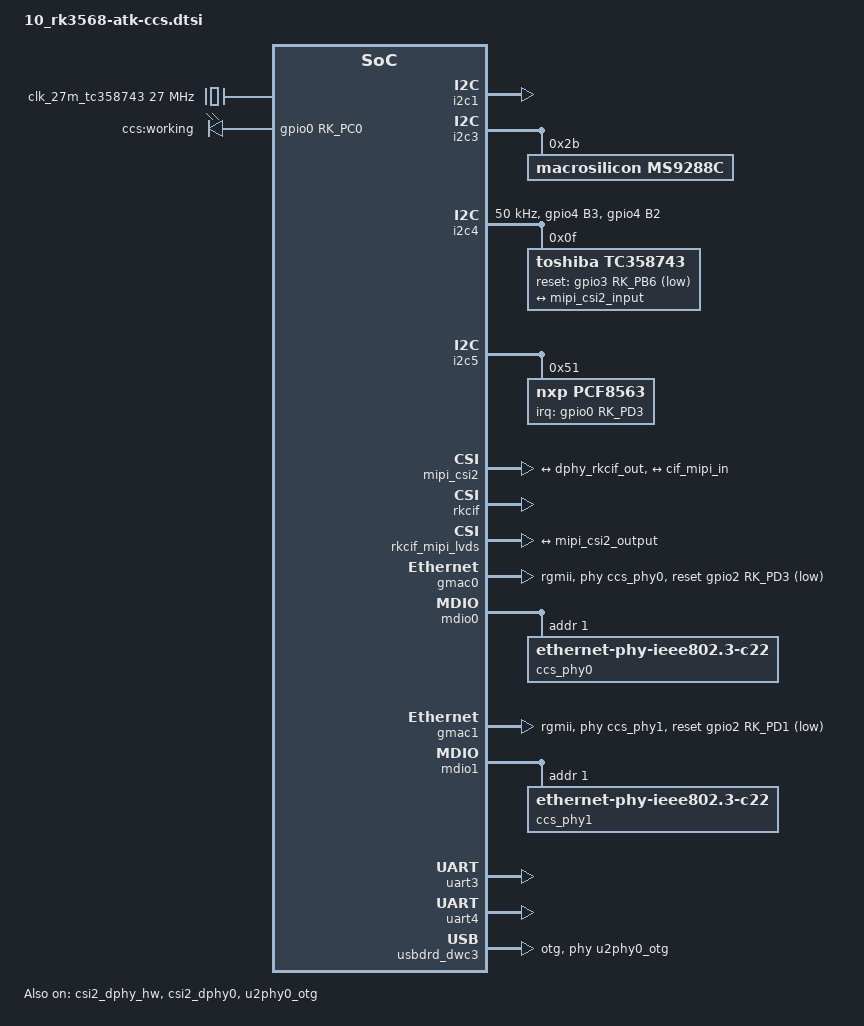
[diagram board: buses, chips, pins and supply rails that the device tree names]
// SPDX-License-Identifier: (GPL-2.0+ OR MIT)
/*
 * RK3568-CCS-V1.0 底板设备树增量（0916A 原理图复核版）
 *
 * 用法：放到 kernel/arch/arm64/boot/dts/rockchip/ 下，
 * 在 rk3568-atk-evb1-ddr4-v10-linux.dts 末尾 #include 本文件；
 * 或新建 rk3568-atk-ccs-v10.dts 包含原厂 dts 再 include 本文件，
 * 并改 BoardConfig 的 RK_KERNEL_DTS。
 *
 * IO 分配依据：buildroot_dev/02_IO与复用配置总表.md（0916A 全 22 页复核 +
 * 金手指复用表 V1.1 交叉核对）。
 *
 * ★ 视频采集为 HDMI/VGA 二选一：两颗 TC358743 的 CSI 4-lane 和 I2C4
 *   经 6 颗 TMUX121（U14/U16~U20，SEL=GPIO1_B1，R80 15k 下拉默认 0=HDMI）
 *   切换，共用 MIPI_CSI_RX 与 i2c4；第 7 颗 TMUX121(U32) 在 P6.3 用于
 *   PICO USB 通路选择，与视频无关。
 *   SW2 拨码（P3.3，经 R87 2k 上拉 SEL）闭合可硬件强制 VGA 路。
 *   设备树只实例化一颗 tc358743，切通道流程（用户态）：
 *     1) echo 解绑/停流；2) gpioset SEL=目标通道；
 *     3) 复位目标芯片（见下 reset 分工）；4) 重新 bind 或 v4l2-ctl 重探测。
 *
 * ★ RGMII 电平：两路 PHY 的 VCCIO 均为 1.8V（VCC_1V8 经磁珠），
 *   核心板 GPIO2/GPIO4 域须为 1.8V（P6.2 页 U29 VCCA=VCC_1V8 佐证
 *   GPIO2 域=1.8V）。pmu-io-domains 沿用核心板出厂配置即可，
 *   烧写前用万用表点核（见配置总表第四节）。
 *
 * ★ 与 ccs_dev/10_rk3568-atk-ccs.dtsi 原稿的差异（适配 4.19 SDK 实际
 *   标签/避免与原厂 evb1 dtsi 冲突）：
 *   1) gmac0 的 pinctrl 组在 4.19 pinctrl 里叫 gmac0_*（无 m1 后缀，
 *      gmac0 引脚只有一组），gmac0m1_clkinout 实际为 gmac0_clkinout；
 *   2) mdio0/mdio1 标签已存在于 rk3568.dtsi 的 gmac0/gmac1 节点内，
 *      不能重复定义，改为 &mdio0/&mdio1 引用追加；
 *      PHY 标签改为 ccs_phy0/ccs_phy1（原厂已占用 rgmii_phy0/1@addr0，
 *      原样使用会重复定义标签）；
 *   3) 原厂 dtsi 的 csi2_dphy0 port@0 已占用 endpoint@1~3
 *      （mipi_in_ucam0/1/2，接 imx335/imx415/ov13850），
 *      我们的 tc358743 输入改用 endpoint@4，避免节点合并冲突；
 *   4) 补齐 rkcif 数据通路：csi2_dphy0 port@1 增加 dphy_rkcif_out
 *      端点指向 rkcif_mipi_lvds 的 cif_mipi_in（参照 rk3568-evb2 的
 *      4.19 rkcif 接法），并使能 rkcif_mmu。
 */

#include <dt-bindings/gpio/gpio.h>
#include <dt-bindings/pinctrl/rockchip.h>

/ {
	/* TC358743 主钟：X3/X5 27MHz 有源晶振 */
	clk_27m_tc358743: clk-27m-tc358743 {
		compatible = "fixed-clock";
		#clock-cells = <0>;
		clock-frequency = <27000000>;
	};
};

/* ---------------- GPIO line names（按 0916A 金手指页逐脚核对） ---------------- */
&gpio0 {
	gpio-line-names =
		/* A0~A7 */ "REFCLK_OUT", "", "", "", "SDMMC0_DET_L", "USB_OTG_PWREN_H", "USB_HOST_PWREN_H", "",
		/* B0~B7 */ "", "", "", "I2C1_SCL_TP", "I2C1_SDA_TP", "TP_INT_L", "TP_RST_L", "BT_WAKE_HOST_H",
		/* C0~C7 */ "WORKING_LEDEN_H", "PWM_FAN", "EDP_HPDIN_M1", "LCD0_BL_PWM4", "LCD1_BL_PWM5", "LVDS_TP_INT_L", "PWM7_IR", "LCD0_PWREN_H",
		/* D0~D7 */ "UART2_RX_M0", "UART2_TX_M0", "", "RTCIC_INT_L", "PCIE_PWREN_H", "VGA_PWREN_H", "5G_PWR_ON_OFF", "";
};

&gpio1 {
	gpio-line-names =
		/* A0~A7 */ "I2C3_SDA_M0", "I2C3_SCL_M0", "", "", "HP_DET_L", "", "", "",
		/* B0~B7 */ "GSENSOR_INT", "5G_RESET", "LCD0_RST_L", "", "", "", "", "",
		/* C0~C7 */ "", "", "", "", "", "", "", "",
		/* D0~D7 */ "", "", "", "", "", "", "", "";
};

&gpio2 {
	gpio-line-names =
		/* A0~A7 */ "SDMMC0_D3", "SDMMC0_CMD", "SDMMC0_CLK", "GMAC0_RXD2", "GMAC0_RXD3", "GMAC0_RXCLK", "GMAC0_TXD2", "GMAC0_TXD3",
		/* B0~B7 */ "GMAC0_TXCLK", "LED_GREEN_STATE", "LED_YELLOW_STATE", "GMAC0_TXD0", "GMAC0_TXD1", "GMAC0_TXEN", "GMAC0_RXD0", "GMAC0_RXD1",
		/* C0~C7 */ "GMAC0_RXDV_CRS", "ETH0_REFCLKO_25M", "GMAC0_MCLKINOUT", "GMAC0_MDC", "GMAC0_MDIO", "LED_BLUE_STATE", "LED_RED_STATE", "",
		/* D0~D7 */ "GMAC1_INT", "GMAC1_RSTn", "GMAC0_INT", "GMAC0_RSTn", "PCIE30X2_CLKREQn", "PCIE30X2_WAKEn", "PCIE30X2_PERSTn", "PCIE30X2_PRSNT";
};

&gpio3 {
	gpio-line-names =
		/* A0~A7 */ "BT_REG_ON_H", "SPI1_CS0_M1", "HOST_WAKE_BT_H", "I2S3_SCLK_M0", "I2S3_LRCK_M0", "I2S3_SDO_M0", "I2S3_SDI_M0", "PCIECLKIC_OE_H",
		/* B0~B7 */ "5G_DISABLE", "UART4_RX_M1", "UART4_TX_M1", "I2C5_SCL_M0", "I2C5_SDA_M0", "VGA_TC358743_RST_L", "HD_TC358743_RST_L", "UART3_TX_M1",
		/* C0~C7 */ "UART3_RX_M1", "SPI1_MOSI_M1", "SPI1_MISO_M1", "SPI1_CLK_M1", "LVDS_TP_RST_L", "", "SDMMC2_D0", "SDMMC2_D1",
		/* D0~D7 */ "SDMMC2_D2", "SDMMC2_D3", "SDMMC2_CMD", "SDMMC2_CLK", "WIFI_WAKE_HOST_H", "WIFI_REG_ON_H", "GMAC1_TXD2", "GMAC1_TXD3";
};

&gpio4 {
	gpio-line-names =
		/* A0~A7 */ "GMAC1_TXCLK", "GMAC1_RXD2", "GMAC1_RXD3", "GMAC1_RXCLK", "GMAC1_TXD0", "GMAC1_TXD1", "GMAC1_TXEN", "GMAC1_RXD0",
		/* B0~B7 */ "GMAC1_RXD1", "GMAC1_RXDV_CRS", "I2C4_SDA_M0", "I2C4_SCL_M0", "HD_TC358743_INT", "MIPI_DSI_RESET", "GMAC1_MDC", "GMAC1_MDIO",
		/* C0~C7 */ "CIF_CLKOUT", "GMAC1_MCLKINOUT", "CAN1_RX_M1", "CAN1_TX_M1", "SATA2_ACT_LED", "UART9_TX_M1", "PWR_SW_DETECT", "HDMITX_SCL",
		/* D0~D7 */ "HDMITX_SDA", "HDMITX_CEC_M0", "AP_INT", "", "", "", "", "";
};

/* 原厂 rm500u_5g 节点（rfkill_wwan 驱动）会把 GPIO1_B1（5G_RESET）钉死为 out-lo。
 * CCS 板上该网络同时是 TMUX121 的通道选择 SEL（R80 15k 下拉默认 0=HDMI 路，
 * SW2 拨码硬件强制 1=VGA 路）——驱动强驱低会让 SW2 强制失效并造成驱动冲突。
 * CCS 底板无 5G 模块，禁用该节点，SEL 保持高阻由 R80/SW2 决定。 */
&rm500u_5g {
	status = "disabled";
};

/* ---------------- I2C ---------------- */

/* i2c1 (GPIO0_B3/B4)：OLED（JP6 座，P6.2，R204/R205 4.7k 上拉）+ TP 预留
 * 注意：原厂 evb1 dtsi 在 i2c1 下挂有 gt911 触摸屏（dsi_touch），
 * CCS 底板无此器件，probe 失败无害，保持不动 */
&i2c1 {
	status = "okay";
	pinctrl-names = "default";
	pinctrl-0 = <&i2c1_xfer>;
	/* OLED 驱动走用户态（luma.oled/ssd1306 库）或 fbtft，按二期需求加 */
};

/* i2c3 (GPIO1_A0/A1)：MS9288C + MS9332/MS8005F */
&i2c3 {
	status = "okay";
	pinctrl-names = "default";
	pinctrl-0 = <&i2c3m0_xfer>;

	ms9288c: ms9288c@2b {
		compatible = "macrosilicon,ms9288c";
		reg = <0x2b>;	/* [TODO] 以厂家资料实测 i2cdetect 为准 */
		/*
		 * 无内核驱动计划：节点仅占位文档化。
		 * 上电后用 i2cdetect -y 3 确认地址；
		 * 若默认上电已直通 VGA→HDMI，则只需确认时序；
		 * 否则初始化 i2cset 序列写进 S99ccs。
		 */
		status = "okay";
	};
	/* MS9332/MS8005F（HDMI 环出分配链）自管理，无需节点；
	 * 如需在 Linux 下读状态可后加节点 */
};

/* i2c4 (GPIO4_B2/B3)：TC358743 ×2，TMUX121(U20) 二选一
 * 正式板首版 I2C4 外部上拉电阻未贴（原理图位号预留但未上件），
 * 这里改用 SoC 内上拉兜底；内上拉较弱（约 20kΩ 量级，经 U20 还有
 * 额外电容），clock-frequency 降到 50kHz 保证上升沿时间。
 * 后续批次若贴回外部 2.2k~4.7k 上拉，内上拉并联无害，可把
 * pinctrl-0 换回 <&i2c4m0_xfer>、clock-frequency 换回 400k。 */
&pinctrl {
	i2c4 {
		ccs_i2c4m0_xfer: ccs-i2c4m0-xfer {
			rockchip,pins =
				<4 RK_PB3 1 &pcfg_pull_up_smt>,	/* i2c4_sclm0 */
				<4 RK_PB2 1 &pcfg_pull_up_smt>;	/* i2c4_sdam0 */
		};
	};
};

&i2c4 {
	status = "okay";
	pinctrl-names = "default";
	pinctrl-0 = <&ccs_i2c4m0_xfer>;
	clock-frequency = <50000>;

	/*
	 * 设备树只描述"当前选中的那一颗"。默认 SEL=0 为 HDMI 路(U15)。
	 * reset 分工：HDMI 路=GPIO3_B6，VGA 路=GPIO3_B5；
	 *            （均有 15k 串联 + 节点 18k 下拉，上电保持复位，驱动释放后工作）
	 * INT  分工：HDMI 路=GPIO4_B4，VGA 路=GPIO0_B5。
	 * 切到 VGA 路时用 libgpiod 拉 GPIO3_B5 复位后重新探测，
	 * 并把 interrupts 改成 GPIO0_B5（或干脆用户态轮询 DV timings，
	 * 两路 INT 都接中断会让驱动在切换后收到错误来源的中断）。
	 */
	tc358743: tc358743@0f {
		compatible = "toshiba,tc358743";
		reg = <0x0f>;
		clocks = <&clk_27m_tc358743>;
		clock-names = "refclk";
		/* RK tc35874x 驱动 probe 强制要求以下四个 module 属性，缺一返回 -EINVAL */
		rockchip,camera-module-index = <0>;
		rockchip,camera-module-facing = "back";
		rockchip,camera-module-name = "CCS-HDMI";
		rockchip,camera-module-lens-name = "TC35874X";
		reset-gpios = <&gpio3 RK_PB6 GPIO_ACTIVE_LOW>;	/* MIPICAM0_RST_L（HDMI 路） */
		/* 不给 interrupts：驱动回退到 1s i2c 轮询检测 5V/时序变化。
		 * EVB 转接模块 INT 脚未接线，走中断模式会导致插线后 HPD 永不拉起；
		 * CCS 实物 INT=GPIO4_B4 已接，如需中断模式可加回：
		 * interrupt-parent = <&gpio4>; interrupts = <RK_PB4 IRQ_TYPE_LEVEL_HIGH>; */
		port {
			tc358743_out: endpoint {
				remote-endpoint = <&mipi_csi2_input>;
				/* CCS 正式板（0916A）为 4-lane：D0~D3 经 TMUX121 全部引出。
				 * 4-lane@594Mbps 带宽上限 = 1080p60（UYVY，891Mbps/lane 需求）。
				 * 旧 EVB 转接模块仅 2-lane（lane3/4 未引出），上限 1080p30/720p60。 */
				data-lanes = <1 2 3 4>;
				clock-lanes = <0>;
				/* 不写 clock-noncontinuous：tc35874x 默认连续时钟输出，
				 * RK 参考设计（evb2 lt6911uxc）同样连续时钟；
				 * 写非连续会导致 dphy 同步不上、收不到帧 */
				/* 4.19 tc358743 驱动强制要求 link-frequencies，否则 probe 报 -22；
				 * 297MHz = 594Mbps/lane，实际速率由驱动按 HDMI 时序自配 PLL */
				link-frequencies = /bits/ 64 <297000000>;
			};
		};
	};
};

/* i2c5 (GPIO3_B3/B4)：PCF8563 RTC
 * 原厂 evb1 dtsi 已在 i2c5 下挂了 rtc@51（同地址同中断），此处与之合并，
 * 仅补充标签并显式确认中断配置 */
&i2c5 {
	status = "okay";
	pinctrl-names = "default";
	pinctrl-0 = <&i2c5m0_xfer>;

	pcf8563: rtc@51 {
		compatible = "nxp,pcf8563";
		reg = <0x51>;
		interrupt-parent = <&gpio0>;
		interrupts = <RK_PD3 IRQ_TYPE_LEVEL_LOW>;	/* RTCIC_INT_L = GPIO0_D3（金手指 250 脚） */
	};
};

/* ---------------- MIPI CSI（单路 4-lane，二选一输入） ---------------- */

&csi2_dphy_hw {
	status = "okay";
};

/* dphy0 保持单摄模式（默认 full，不要开 2x2 拆分）
 * 原厂 port@0 的 endpoint@1~3 已被 imx335/imx415/ov13850 占用
 * （CCS 底板无这些 Sensor，节点保留无害），tc358743 用 endpoint@4 */
&csi2_dphy0 {
	status = "okay";
	ports {
		#address-cells = <1>;
		#size-cells = <0>;
		port@0 {
			reg = <0>;
			#address-cells = <1>;
			#size-cells = <0>;
			dphy0_in_tc358743: endpoint@4 {
				reg = <4>;
				remote-endpoint = <&tc358743_out>;
				data-lanes = <1 2 3 4>;
			};
		};
		/* port@1：dphy 输出。原厂 endpoint@0(csidphy_out)→ISP 保留不动；
		 * 增加 endpoint@1 接到 mipi_csi2 host（参照 rk3568-evb2 接法：
		 * sensor → dphy → mipi_csi2 host → rkcif，host 不可跳过） */
		port@1 {
			reg = <1>;
			#address-cells = <1>;
			#size-cells = <0>;
			dphy_rkcif_out: endpoint@1 {
				reg = <1>;
				remote-endpoint = <&mipi_csi2_input>;
				data-lanes = <1 2 3 4>;
			};
		};
	};
};

/* CSI host 控制器（协议解码层）：底包默认 disabled，必须打开，
 * 否则 dphy 到 rkcif 之间没有通路，rkcif 零中断零帧 */
&mipi_csi2 {
	status = "okay";
	ports {
		#address-cells = <1>;
		#size-cells = <0>;
		port@0 {
			reg = <0>;
			#address-cells = <1>;
			#size-cells = <0>;
			mipi_csi2_input: endpoint@1 {
				reg = <1>;
				remote-endpoint = <&dphy_rkcif_out>;
				data-lanes = <1 2 3 4>;
			};
		};
		port@1 {
			reg = <1>;
			#address-cells = <1>;
			#size-cells = <0>;
			mipi_csi2_output: endpoint@0 {
				reg = <0>;
				remote-endpoint = <&cif_mipi_in>;
				data-lanes = <1 2 3 4>;
			};
		};
	};
};

&rkcif {
	status = "okay";
};

&rkcif_mmu {
	status = "okay";
};

&rkcif_mipi_lvds {
	status = "okay";
	/* 参照 rk3568-evb2 的 4.19 rkcif 接法补齐 port/endpoint */
	port {
		cif_mipi_in: endpoint {
			remote-endpoint = <&mipi_csi2_output>;
			data-lanes = <1 2 3 4>;
		};
	};
};

/* ---------------- 以太网 ---------------- */

/* PHY1：YT8531C U24 @ GMAC0（RGMII，GPIO2 组），地址 0x01，
 * PHY 内部 RXDLY/TXDLY strap 下拉=关闭 → 延时由 MAC 侧 taps 给；
 * VCCIO_PHY0=1.8V（VCC_1V8 经 L23）
 * 注意：gmac0 引脚组在 4.19 pinctrl 里无 m1 后缀（gmac0_*） */
&gmac0 {
	phy-mode = "rgmii";
	clock_in_out = "input";		/* 125M 由 YT8531C CLKOUT 回送 */
	assigned-clocks = <&cru SCLK_GMAC0_RX_TX>, <&cru SCLK_GMAC0>;
	assigned-clock-parents = <&cru SCLK_GMAC0_RGMII_SPEED>, <&cru CLK_MAC0_2TOP>;
	assigned-clock-rates = <0>, <125000000>;
	pinctrl-names = "default";
	pinctrl-0 = <&gmac0_miim
		     &gmac0_tx_bus2
		     &gmac0_rx_bus2
		     &gmac0_rgmii_clk
		     &gmac0_rgmii_bus
		     &gmac0_clkinout>;
	tx_delay = <0x30>;		/* [TODO] iperf3 实测后微调 */
	rx_delay = <0x28>;		/* [TODO] 同上 */
	phy-handle = <&ccs_phy0>;
	snps,reset-gpio = <&gpio2 RK_PD3 GPIO_ACTIVE_LOW>;	/* GMAC0_RSTn */
	snps,reset-active-low;
	snps,reset-delays-us = <0 20000 100000>;
	status = "okay";
};

/* mdio0/mdio1 标签已在 rk3568.dtsi 的 gmac 节点内定义，此处引用追加。
 * CCS 的 YT8531C 地址为 0x01（原厂的 rgmii_phy0/1@0 保留，无硬件不探测） */
&mdio0 {
	ccs_phy0: phy@1 {
		compatible = "ethernet-phy-ieee802.3-c22";
		reg = <0x1>;
	};
};

/* PHY2：YT8531C U25 @ GMAC1_M1（GPIO4 组 + GPIO3_D6/D7），地址 0x01
 * （独立 MDIO 总线，与 PHY1 同址不冲突）；VCCIO_PHY1=1.8V（经 L27） */
&gmac1 {
	phy-mode = "rgmii";
	clock_in_out = "input";
	assigned-clocks = <&cru SCLK_GMAC1_RX_TX>, <&cru SCLK_GMAC1>;
	assigned-clock-parents = <&cru SCLK_GMAC1_RGMII_SPEED>, <&cru CLK_MAC1_2TOP>;
	assigned-clock-rates = <0>, <125000000>;
	pinctrl-names = "default";
	pinctrl-0 = <&gmac1m1_miim
		     &gmac1m1_tx_bus2
		     &gmac1m1_rx_bus2
		     &gmac1m1_rgmii_clk
		     &gmac1m1_rgmii_bus>;
	tx_delay = <0x30>;		/* [TODO] 实测微调 */
	rx_delay = <0x28>;
	phy-handle = <&ccs_phy1>;
	snps,reset-gpio = <&gpio2 RK_PD1 GPIO_ACTIVE_LOW>;	/* GMAC1_RSTn */
	snps,reset-active-low;
	snps,reset-delays-us = <0 20000 100000>;
	status = "okay";
};

&mdio1 {
	ccs_phy1: phy@1 {
		compatible = "ethernet-phy-ieee802.3-c22";
		reg = <0x1>;
	};
};

/* ---------------- 串口 ---------------- */

/* uart2：调试控制台（保持出厂默认，勿动） */

/* uart3 (GPIO3_B7/C0, M1)：RS232（SP3232，JP5B 出）
 * 与原厂 evb1 配置一致（原厂已 okay + uart3m1_xfer），重复确认无害 */
&uart3 {
	status = "okay";
	pinctrl-names = "default";
	pinctrl-0 = <&uart3m1_xfer>;
};

/* uart4 (GPIO3_B1/B2, M1)：RS485（SP3485，JP5A 出）
 * 方向为 Q10 硬件自动方向电路，无需 rs485-rts-gpio，
 * 应用层当普通串口用即可 */
&uart4 {
	status = "okay";
	pinctrl-names = "default";
	pinctrl-0 = <&uart4m1_xfer>;
};

/* uart8：禁止使能！四脚当 GPIO 经 U29(TXS0104) 驱动 LED 状态：
 * GPIO2_C5(TX)→LED17 蓝，GPIO2_B1(RTSn)→LED16 绿，
 * GPIO2_B2(CTSn)→LED15 黄，GPIO2_C6(RX)→LED14 红。
 * 默认复位态即 gpio 功能，不引用 uart8m0 组即可 */

/* uart9：禁止使能！GPIO4_C6 为电源开关检测输入（R27 5.9k+D12），
 * GPIO4_C5(TX) 载板未接 */

/* ---------------- USB ---------------- */

/* USB3_OTG0 → Type-C USB3，跑 HID gadget。
 * 完全对齐 SDK 内验证过的 gadget 配置（rk3566-box.dtsi / rk3568-evb.dtsi）：
 * dr_mode="otg" + extcon=<&usb2phy0>，角色由 USB2 PHY 的 extcon 插拔事件
 * 驱动（drd.c）：无线时控制器全 idle，插 PC 后 phy 检出 SDP/vbus →
 * EXTCON_USB=1 → drd 切 device → udc 注册 → 由 udev 规则触发绑定。
 * 教训 1：固定 dr_mode="peripheral" 无 extcon 时，绑定 gadget 后 dwc3 以
 *         ~84ms 周期狂刷 device disconnect（解绑即停），PC 无法枚举。
 * 教训 2：必须同时开 u2phy0_otg——dwc3 的 VBUS/session 检测和 HS 数据
 *         通路都走 USB2 PHY 的 otg-port，原厂 dtsi 只开了 u2phy0_host。
 * 只需 HS（HID），故 phys 只挂 u2phy0_otg 并限 high-speed，不占 combphy0。
 * phy-supply 沿用原厂的 vcc5v0_usb（与 *_host 一致）。 */
&usbdrd_dwc3 {
	dr_mode = "otg";
	phys = <&u2phy0_otg>;
	maximum-speed = "high-speed";
	extcon = <&usb2phy0>;
	status = "okay";
};
&u2phy0_otg {
	phy-supply = <&vcc5v0_usb>;
	status = "okay";
};
/* VBUS 开关 U10(MT9700) EN=GPIO0_A5：device 模式下由 S99ccs
 * 用 libgpiod 管理即可，不占 regulator。
 * VBUSDET 经 R58 10k+R59 15k 分压进 SoC，保持默认。 */

/* USB2_HOST2 → SL2.2s HUB：host 控制器保持 SDK 默认使能即可，
 * HUB 免驱；下行 4 口 MT9700 的 EN 接 VCC5V1_USB 常开，无 GPIO 控制，
 * USB_HOST_PWREN_H(GPIO0_A6) 原理图未使用 */

/* USB2_HOST3 → U32(TMXU121, P6.3)：SW10 拨码二选一。
 * SW10 断开=PICO 连 USB4 Type-C（外部刷机/通讯/供电），
 * SW10 闭合=PICO 连本口，RP2040 枚举为 /dev/ttyACM（板内指令通道）。
 * host3 控制器保持 SDK 默认使能即可；闭合 SW11(BOOTSEL) 后可用
 * picotool 经本口在线刷 PICO 固件 */

/* ---------------- 杂项 ---------------- */

/* 工作指示灯：WORKING_LEDEN_H = GPIO0_C0（金手指 260 脚，Q9/MMBT3906 驱动） */
/ {
	leds {
		compatible = "gpio-leds";
		working {
			label = "ccs:working";
			gpios = <&gpio0 RK_PC0 GPIO_ACTIVE_HIGH>;
			default-state = "on";
			linux,default-trigger = "heartbeat";
		};
	};
};

/* 按键：SARADC_VIN0 电阻梯（RECOVERY 等）、SARADC_VIN1=HW_ID，
 * 参照原厂 dts 的 adc-keys 节点核对键值即可（原厂已带） */

/* PWM_FAN = GPIO0_C1 = PWM2_M0（金手指 256 脚），风扇为 12V(VCC12VP)、
 * Q17(2SK3018) 低边开关。可直接加 pwm-fan 节点：
 *   &pwm2 { status = "okay"; pinctrl-0 = <&pwm2m0_pins>; };
 * 调试期也可先用 libgpiod 直控 */

/* HDMI TX（本地显示输出）：CEC 在用（HDMITX_CEC_M0=GPIO4_D1，Q6 电平转换），
 * 保持原厂 hdmi 节点默认 pinctrl（含 cec）即可，勿把 GPIO4_D1 挪作他用 */

/* TF 卡 SDMMC0、调试串口 uart2 等保持出厂默认 */
